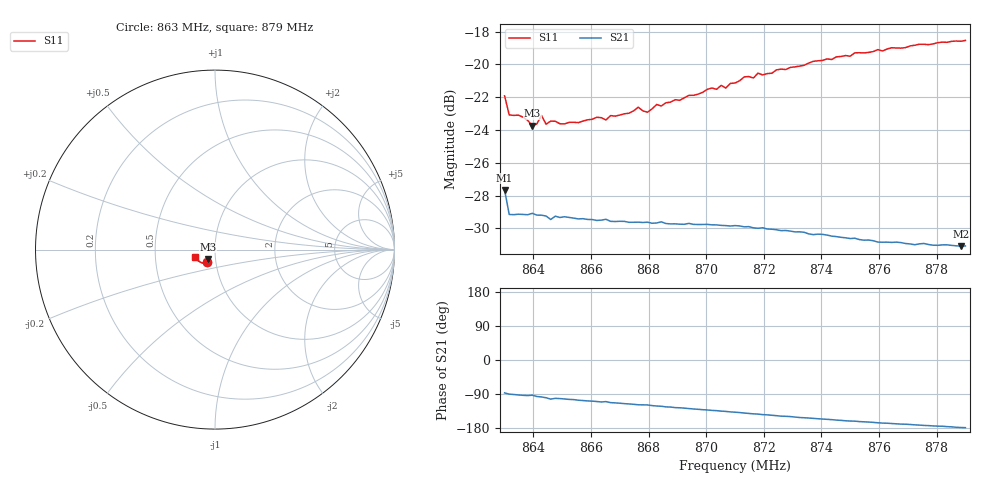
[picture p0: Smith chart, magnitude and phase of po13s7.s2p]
# HZ S RI R 50
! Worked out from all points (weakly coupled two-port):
!   101 points, 863 MHz to 879 MHz, reference 50 ohm
!   highest |S21| = -27.67 dB at 863 MHz (marker M1); lowest = -31.1 dB at 878.84 MHz (marker M2)
!   lowest |S11| = -23.7 dB at 863.96 MHz (marker M3), VSWR 1.14, Z = 46.1 - j4.86 ohm
!   |S11| at or under -10 dB: start of sweep to end of sweep
!   S12 and S22 are empty: the file has one direction only
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8.63e8  -0.0437 -0.0672  0.00229 -0.0413  0 0  0 0
8.6316e8  -0.0449 -0.0539  -4.1e-05 -0.0349  0 0  0 0
8.6364e8  -0.0427 -0.0542  -0.00197 -0.0348  0 0  0 0
8.6396e8  -0.0383 -0.0525  -0.00178 -0.0351  0 0  0 0
8.6412e8  -0.0376 -0.0541  -0.00379 -0.0345  0 0  0 0
8.6428e8  -0.0424 -0.0555  -0.00452 -0.0344  0 0  0 0
8.6444e8  -0.0389 -0.053  -0.00577 -0.034  0 0  0 0
8.646e8  -0.0392 -0.0545  -0.00769 -0.0328  0 0  0 0
8.6572e8  -0.0346 -0.0576  -0.0099 -0.0324  0 0  0 0
8.6652e8  -0.0315 -0.0599  -0.0114 -0.0317  0 0  0 0
8.6764e8  -0.0375 -0.0638  -0.0156 -0.0291  0 0  0 0
8.6796e8  -0.0323 -0.0637  -0.0158 -0.029  0 0  0 0
8.6828e8  -0.0364 -0.0661  -0.0171 -0.028  0 0  0 0
8.6844e8  -0.0358 -0.0655  -0.0176 -0.028  0 0  0 0
8.71e8  -0.047 -0.0741  -0.0239 -0.0217  0 0  0 0
8.7132e8  -0.0506 -0.0764  -0.0245 -0.0206  0 0  0 0
8.7164e8  -0.0507 -0.0755  -0.025 -0.0195  0 0  0 0
8.718e8  -0.0548 -0.0765  -0.0252 -0.0191  0 0  0 0
8.7372e8  -0.0685 -0.0758  -0.0272 -0.0132  0 0  0 0
8.7644e8  -0.093 -0.0631  -0.028 -0.00614  0 0  0 0
8.7884e8  -0.1101 -0.0414  -0.0279 -0.000912  0 0  0 0
8.79e8  -0.1114 -0.04  -0.0279 -0.000722  0 0  0 0
